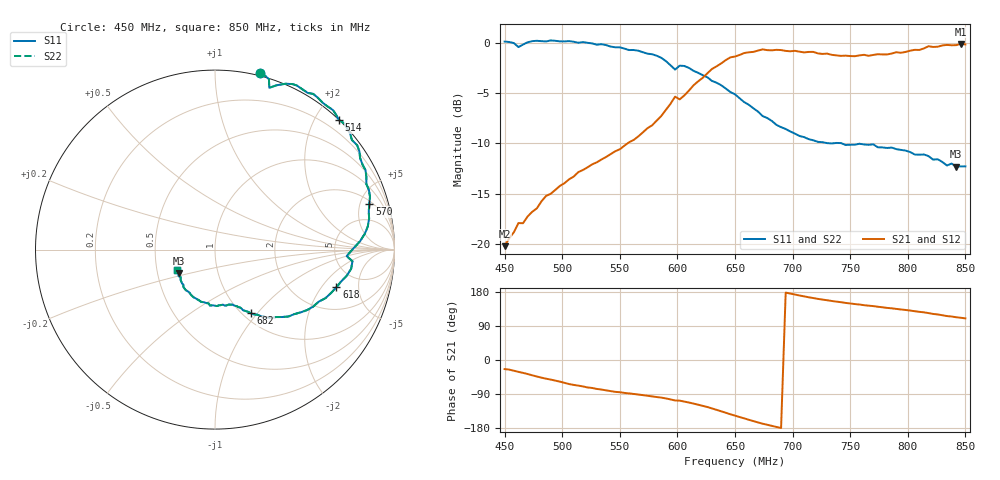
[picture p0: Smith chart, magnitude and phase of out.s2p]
! https://github.com/szoftveres
# Hz S RI R 50
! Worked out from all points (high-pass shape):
!   101 points, 450 MHz to 850 MHz, reference 50 ohm
!   highest |S21| = -0.12 dB at 846 MHz (marker M1); lowest = -20.2 dB at 450 MHz (marker M2)
!   |S21| within 3 dB of the highest: 625.3 MHz to end of sweep
!   lowest |S11| = -12.3 dB at 842 MHz (marker M3), VSWR 1.64, Z = 32.1 - j8.97 ohm
!   |S11| at or under -10 dB: 732.421 MHz to 735.0225 MHz (2.601 MHz wide, 0.355 % of centre); 742.5 MHz to end of sweep
!   |S22| runs from -12.3 to 0.2 dB; largest |S21 - S12| = 0
!   S11 on the Smith chart (normalised r, x): 450 MHz: -0.02, +1.29; 514 MHz: 0.00, +2.34; 570 MHz: 2.33, +6.03; 618 MHz: 3.35, -2.82; 682 MHz: 1.09, -0.93; 850 MHz: 0.63, -0.15
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4.5e8  0.2497 0.9813  0.0891 -0.0396  0.0891 -0.0396  0.2497 0.9813
4.62e8  0.3023 0.9015  0.1085 -0.0659  0.1085 -0.0659  0.3023 0.9015
4.74e8  0.4304 0.9223  0.11 -0.0937  0.11 -0.0937  0.4304 0.9223
4.9e8  0.5472 0.8674  0.1102 -0.1392  0.1102 -0.1392  0.5472 0.8674
5.14e8  0.6903 0.7223  0.0867 -0.2103  0.0867 -0.2103  0.6903 0.7223
5.18e8  0.7213 0.7028  0.0806 -0.2187  0.0806 -0.2187  0.7213 0.7028
5.5e8  0.8388 0.4426  0.0256 -0.2943  0.0256 -0.2943  0.8388 0.4426
5.7e8  0.8597 0.2539  -0.0169 -0.3579  -0.0169 -0.3579  0.8597 0.2539
5.86e8  0.8359 0.0907  -0.0698 -0.4267  -0.0698 -0.4267  0.8359 0.0907
5.98e8  0.7337 -0.0359  -0.1556 -0.5163  -0.1556 -0.5163  0.7337 -0.0359
6.06e8  0.7586 -0.1066  -0.1843 -0.5147  -0.1843 -0.5147  0.7586 -0.1066
6.18e8  0.6763 -0.2101  -0.301 -0.5675  -0.301 -0.5675  0.6763 -0.2101
6.3e8  0.5761 -0.2914  -0.4534 -0.585  -0.4534 -0.585  0.5761 -0.2914
6.5e8  0.4099 -0.3725  -0.7138 -0.4676  -0.7138 -0.4676  0.4099 -0.3725
6.74e8  0.2347 -0.3626  -0.9061 -0.1904  -0.9061 -0.1904  0.2347 -0.3626
6.82e8  0.2011 -0.3554  -0.9109 -0.0984  -0.9109 -0.0984  0.2011 -0.3554
7.18e8  0.1037 -0.3103  -0.8625 0.2567  -0.8625 0.2567  0.1037 -0.3103
7.86e8  -0.0772 -0.2911  -0.6391 0.6088  -0.6391 0.6088  -0.0772 -0.2911
8.18e8  -0.1753 -0.2094  -0.5336 0.7979  -0.5336 0.7979  -0.1753 -0.2094
8.42e8  -0.2033 -0.1314  -0.3778 0.8956  -0.3778 0.8956  -0.2033 -0.1314
8.46e8  -0.2108 -0.1205  -0.3618 0.9174  -0.3618 0.9174  -0.2108 -0.1205
8.5e8  -0.2142 -0.1144  -0.3324 0.9223  -0.3324 0.9223  -0.2142 -0.1144
